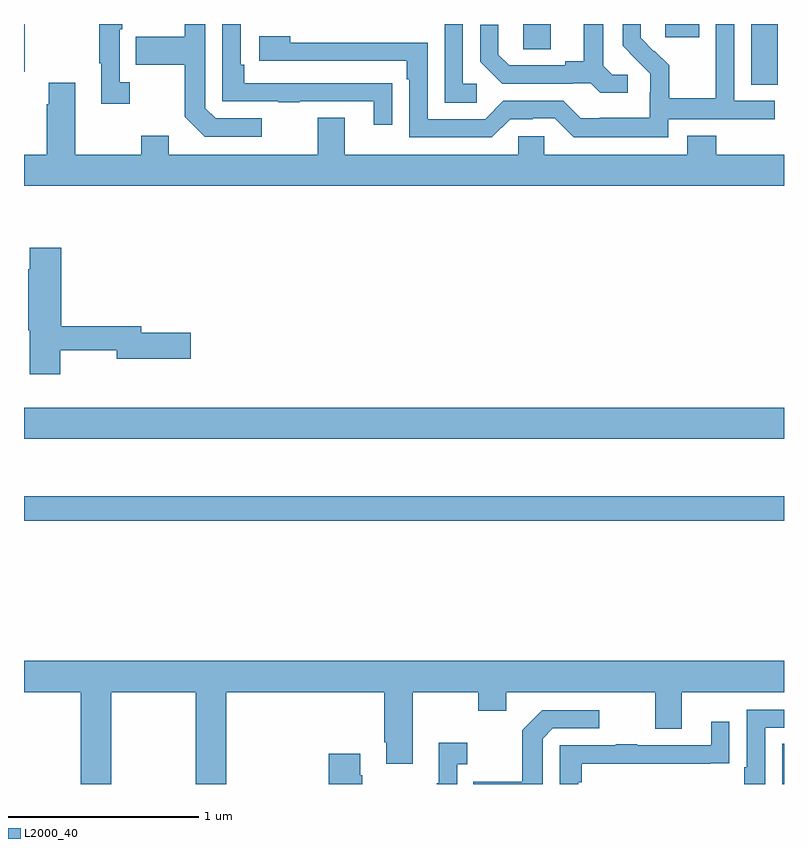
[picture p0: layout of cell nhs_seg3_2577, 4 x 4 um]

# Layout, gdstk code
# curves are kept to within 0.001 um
import gdstk
lib = gdstk.Library(unit=1e-6, precision=1e-09)
def R(c, l, rs):  # rectangles x0, y0, x1, y1
    for r in rs: c.add(gdstk.rectangle(r[:2], r[2:], *l))
def P(c, l, *ps):  # polygons
    for p in ps: c.add(gdstk.Polygon(p, *l))
L2000_40 = (2000, 40)

nhs_seg3_2577 = lib.new_cell('nhs_seg3_2577')
R(nhs_seg3_2577, L2000_40, [(246.99,732.4,247,732.611), (243,733.786,247,733.915), (243,734.216,247,734.38), (246.827,736.081,246.966,736.4), (243,736.15,243.003,736.4), (245.628,736.267,245.773,736.4), (246.374,736.329,246.553,736.4)])
P(nhs_seg3_2577, L2000_40, [(246.39,735.9),(246.952,735.9),(246.952,735.996),(246.738,735.996),(246.738,736.4),(246.642,736.4),(246.642,736.232),(246.64,736.232),(246.64,736.009),(246.395,736.009),(246.395,736.183),(246.318,736.26),(246.315,736.257),(246.245,736.328),(246.245,736.4),(246.15,736.4),(246.15,736.286),(246.296,736.138),(246.296,736.041),(246.294,736.041),(246.294,735.907),(246.031,735.907),(246.031,735.903),(245.931,735.903),(245.838,735.996),(245.523,735.996),(245.427,735.9),(245.124,735.9),(245.124,736.302),(244.4,736.302),(244.4,736.336),(244.239,736.336),(244.239,736.206),(245.015,736.206),(245.015,736.109),(245.028,736.109),(245.028,735.804),(245.463,735.804),(245.559,735.9),(245.678,735.9),(245.678,735.903),(245.793,735.903),(245.893,735.803),(246.39,735.803)],
  [(244.252,735.903),(244.008,735.903),(243.954,735.957),(243.954,736.4),(243.846,736.4),(243.846,736.333),(243.589,736.333),(243.589,736.186),(243.846,736.186),(243.846,735.913),(243.951,735.807),(244.252,735.807)],
  [(245.383,736.086),(245.31,736.086),(245.31,736.4),(245.214,736.4),(245.214,735.985),(245.383,735.985)],
  [(243.556,736.094),(243.504,736.094),(243.504,736.373),(243.517,736.373),(243.517,736.4),(243.396,736.4),(243.396,736.193),(243.407,736.193),(243.407,735.981),(243.556,735.981)],
  [(246.178,736.134),(246.096,736.134),(246.049,736.181),(246.049,736.4),(245.945,736.4),(245.945,736.205),(245.849,736.205),(245.849,736.182),(245.554,736.182),(245.497,736.239),(245.497,736.396),(245.4,736.396),(245.4,736.202),(245.516,736.086),(245.888,736.086),(245.888,736.089),(245.982,736.089),(246.034,736.037),(246.178,736.037)],
  [(244.937,736.088),(244.835,736.088),(244.835,736.089),(244.16,736.089),(244.16,736.186),(244.14,736.186),(244.14,736.4),(244.044,736.4),(244.044,735.993),(244.339,735.993),(244.339,735.988),(244.451,735.988),(244.451,735.993),(244.841,735.993),(244.841,735.87),(244.937,735.87)],
  [(247,735.712),(246.644,735.712),(246.644,735.811),(246.491,735.811),(246.491,735.712),(245.739,735.712),(245.739,735.81),(245.601,735.81),(245.601,735.712),(244.687,735.712),(244.687,735.907),(244.547,735.907),(244.547,735.712),(243.763,735.712),(243.763,735.811),(243.616,735.811),(243.616,735.712),(243.271,735.712),(243.271,736.09),(243.131,736.09),(243.131,735.977),(243.119,735.977),(243.119,735.712),(243,735.712),(243,735.548),(247,735.548)],
  [(243.192,734.682),(243.488,734.682),(243.488,734.639),(243.877,734.639),(243.877,734.774),(243.616,734.774),(243.616,734.81),(243.197,734.81),(243.197,735.223),(243.029,735.223),(243.029,735.11),(243.022,735.11),(243.022,734.787),(243.029,734.787),(243.029,734.556),(243.192,734.556)],
  [(243.459,732.884),(243.904,732.884),(243.904,732.4),(244.064,732.4),(244.064,732.884),(244.895,732.884),(244.895,732.619),(244.907,732.619),(244.907,732.507),(245.047,732.507),(245.047,732.884),(245.392,732.884),(245.392,732.785),(245.539,732.785),(245.539,732.884),(246.323,732.884),(246.323,732.69),(246.463,732.69),(246.463,732.884),(247,732.884),(247,733.048),(243,733.048),(243,732.884),(243.299,732.884),(243.299,732.4),(243.459,732.4)],
  [(246.9,732.696),(247,732.696),(247,732.792),(246.804,732.792),(246.804,732.487),(246.791,732.487),(246.791,732.4),(246.9,732.4)],
  [(245.73,732.639),(245.784,732.693),(246.028,732.693),(246.028,732.789),(245.727,732.789),(245.622,732.683),(245.622,732.411),(245.365,732.411),(245.365,732.4),(245.73,732.4)],
  [(245.916,732.41),(245.936,732.41),(245.936,732.507),(246.611,732.507),(246.611,732.508),(246.713,732.508),(246.713,732.727),(246.617,732.727),(246.617,732.603),(246.227,732.603),(246.227,732.608),(246.115,732.608),(246.115,732.603),(245.82,732.603),(245.82,732.4),(245.916,732.4)],
  [(245.28,732.503),(245.332,732.503),(245.332,732.616),(245.183,732.616),(245.183,732.403),(245.172,732.403),(245.172,732.4),(245.28,732.4)],
  [(244.779,732.446),(244.771,732.446),(244.771,732.559),(244.604,732.559),(244.604,732.4),(244.779,732.4)])

lib.write_gds('nhs_seg3_2577.gds')
